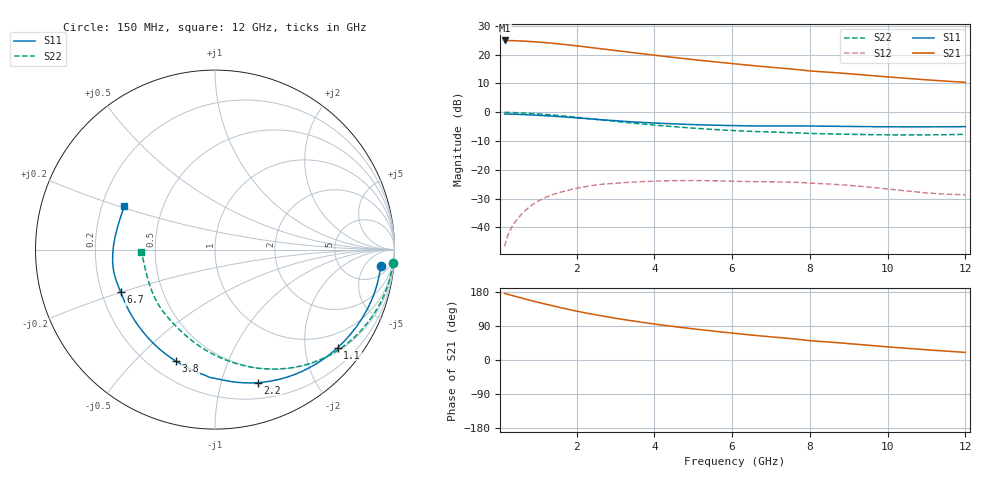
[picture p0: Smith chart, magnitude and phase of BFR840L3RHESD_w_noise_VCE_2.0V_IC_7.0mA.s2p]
! Infineon Technologies  Discrete & RF Semiconductors
! BFR840L3RHESD
! VCE =  2.0 V,  IC =  7.0 mA
! Common Emitter S-Parameters:  Jun 2012
# GHz  S  MA  R  50
!  f  S11  S21  S12  S22
! GHz  MAG  ANG  MAG  ANG  MAG  ANG  MAG  ANG
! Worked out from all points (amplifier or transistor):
!   91 points, 150 MHz to 12 GHz, reference 50 ohm
!   highest |S21| = 24.9 dB at 150 MHz (marker M1)
!   |S21| within 3 dB of that: start of sweep to 2.698 GHz
!   unconditionally stable (mu >= 1): 8.892 GHz to end of sweep
!   at 1.3 GHz: K = 0.10, MSG = 26.6 dB, |S12| = -29.1 dB
!   at 4.3 GHz: K = 0.34, MSG = 21.6 dB, |S12| = -23.8 dB
!   at 12 GHz: K = 2.27, MAG = 13.2 dB, |S12| = -28.7 dB
!   lowest NFmin = 0.57 dB at 450 MHz
!   S11 on the Smith chart (normalised r, x): 150 MHz: 10, -13; 1.1 GHz: 0.59, -2.74; 2.2 GHz: 0.35, -1.31; 3.8 GHz: 0.30, -0.66; 6.7 GHz: 0.28, -0.20; 12 GHz: 0.29, +0.21
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0.15  0.9283 -5.6  17.62 175.6  0.0047 85.5  0.993 -4.3
0.35  0.9228 -13.0  17.49 170.1  0.0105 81.4  0.9858 -10.2
0.6  0.9108 -21.7  17.21 163.1  0.0173 72.2  0.97 -17.2
0.8  0.8976 -28.6  16.92 157.7  0.0229 68.0  0.9536 -22.5
1.1  0.8751 -38.6  16.36 150.0  0.0306 63.7  0.9246 -30.4
1.3  0.8592 -45.1  15.93 145.1  0.0351 60.7  0.903 -35.5
1.6  0.8339 -54.5  15.22 137.9  0.0409 55.4  0.8672 -42.8
1.9  0.8067 -63.6  14.48 131.2  0.046 49.8  0.8284 -49.8
2.2  0.7786 -72.2  13.71 124.9  0.0505 44.8  0.7889 -56.3
2.5  0.7513 -80.0  12.95 119.2  0.0544 40.4  0.7508 -62.4
3  0.7124 -92.4  11.81 110.2  0.0578 34.7  0.6944 -71.5
3.4  0.6815 -101.1  10.93 103.8  0.0608 28.8  0.6505 -78.6
3.8  0.658 -109.4  10.14 97.8  0.0626 24.8  0.6139 -85.1
4.2  0.6391 -117.2  9.427 92.3  0.0639 21.4  0.5821 -91.2
4.6  0.6228 -124.4  8.78 87.1  0.0647 18.4  0.5539 -97.1
5.1  0.6059 -132.9  8.069 81.1  0.0648 14.6  0.5231 -104.2
6.1  0.5836 -147.9  6.886 70.0  0.0631 8.4  0.4774 -117.6
6.7  0.5765 -155.9  6.296 63.9  0.062 5.5  0.4591 -125.3
8  0.5743 -173.3  5.204 50.9  0.0586 -0.4  0.4272 -142.8
8.5  0.5701 -178.0  4.942 47.3  0.0565 -2.1  0.4197 -147.4
10.5  0.5562 163.9  3.864 30.8  0.0427 -3.9  0.4029 -167.0
12  0.5608 154.3  3.297 20.0  0.0367 8.3  0.4114 -178.3
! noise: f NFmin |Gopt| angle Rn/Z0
0.45  0.57  0.44  6  0.17
0.9  0.6  0.43  11  0.17
1.9  0.64  0.45  29  0.16
3.5  0.65  0.43  48  0.15
4  0.67  0.43  57  0.15
5.5  0.7  0.44  70  0.13
7  0.78  0.42  91  0.12
8  0.84  0.4  100  0.11
10  0.96  0.36  123  0.1
12  1.12  0.32  153  0.09
